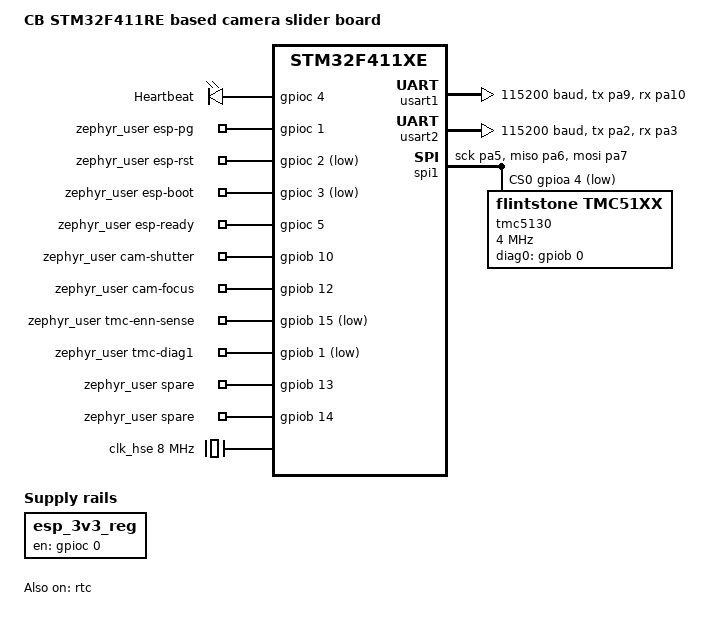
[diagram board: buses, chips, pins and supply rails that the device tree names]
/*
 * Copyright (c) 2017 Linaro Limited
 * Copyright (c) 2026 C Barker
 *
 * SPDX-License-Identifier: Apache-2.0
 *
 * Board: Ki_Slider camera slider, STM32F411RE (U3, LQFP-64).
 * Every pin below is taken from the KiCad netlist, not from the silkscreen.
 */

/dts-v1/;
#include <st/f4/stm32f411Xe.dtsi>
#include <st/f4/stm32f411r(c-e)tx-pinctrl.dtsi>
#include <zephyr/dt-bindings/input/input-event-codes.h>
#include <zephyr/dt-bindings/gpio/gpio.h>

#include <zephyr/dt-bindings/led/led.h>

/ {
	model = "CB STM32F411RE based camera slider board";
	compatible = "flintstone,cb-f411re-slider";

	chosen {
		zephyr,console = &usart2;
		zephyr,shell-uart = &usart2;
		zephyr,sram = &sram0;
		zephyr,flash = &flash0;
	};

	leds: leds {
		compatible = "gpio-leds";

		led_0: led_0 {
			/* PC4 -> R13 560R -> D3 anode, cathode to GND.
			 * The MCU sources ~2.5 mA, so the LED is active HIGH.
			 */
			gpios = <&gpioc 4 GPIO_ACTIVE_HIGH>;
			label = "Heartbeat";
		};
	};

	/*
	 * 3V3_ESP is a second LMR38020 buck (U2) gated by the MCU.
	 * PC0 -> R5 150R -> U2 EN, with R6 10K pulling the net to GND so the
	 * rail is OFF at reset while the STM32 GPIOs are still floating.
	 * Nothing the MCU needs in order to boot lives on this rail.
	 */
	esp_3v3_reg: esp-3v3-regulator {
		compatible = "regulator-fixed";
		regulator-name = "3v3_esp";
		enable-gpios = <&gpioc 0 GPIO_ACTIVE_HIGH>;
		startup-delay-us = <5000>;
		/* deliberately NOT regulator-boot-on: firmware decides when */
	};

	/*
	 * Board signals with no upstream binding of their own.
	 * Fetch with GPIO_DT_SPEC_GET(DT_PATH(zephyr_user), <name>_gpios).
	 */
	zephyr_user: zephyr,user {
		/* --- ESP32-S3 (U6) supervision --------------------------- */

		/* U2 PG, open drain + R8 100K pull-up to the always-on
		 * 3V3_FIL rail, so it stays readable while 3V3_ESP is off.
		 * High = 3V3_ESP is good.
		 */
		esp-pg-gpios = <&gpioc 1 GPIO_ACTIVE_HIGH>;

		/* PC2 -> R18 1K -> ESP_EN (R20 10K pull-up to 3V3_ESP).
		 * Drive active (low) to hold the ESP32 in reset.
		 */
		esp-rst-gpios = <&gpioc 2 GPIO_ACTIVE_LOW>;

		/* PC3 -> R19 1K -> ESP_IO0 (R21 10K pull-up to 3V3_ESP).
		 * Hold active (low) across the ESP32 reset release to enter
		 * the serial bootloader; leave inactive for a normal boot.
		 */
		esp-boot-gpios = <&gpioc 3 GPIO_ACTIVE_LOW>;

		/* ESP32-S3 IO21 -> PC5, direct, no pull fitted on the board.
		 * GPIO_PULL_DOWN keeps the input defined while 3V3_ESP is off
		 * and IO21 is high-Z.
		 */
		esp-ready-gpios = <&gpioc 5 (GPIO_ACTIVE_HIGH | GPIO_PULL_DOWN)>;

		/* --- Camera trigger (J10, opto-isolated) ------------------ */

		/* PB10 -> R16 560R -> U4 PC817 LED anode, cathode to GND.
		 * PB12 -> R17 560R -> U5 PC817 LED anode, cathode to GND.
		 * Active HIGH: driving the pin high lights the opto LED and
		 * closes the camera-side contact. The camera side (J10) is
		 * galvanically isolated - CAM_COM is NOT board ground.
		 */
		cam-shutter-gpios = <&gpiob 10 GPIO_ACTIVE_HIGH>;
		cam-focus-gpios = <&gpiob 12 GPIO_ACTIVE_HIGH>;

		/* --- TMC5130 (U7) extras --------------------------------- */

		/* PB15 sits directly on the TMC_ENN net (U7 DRV_ENN, R25 10K
		 * pull-up to 3V3_FIL). PB2 reaches that net only through JP1
		 * or the J4 e-stop connector, so this pin is a READ-BACK: it
		 * tells firmware whether the enable actually arrived at the
		 * driver. Keep it an input - making it an output fights PB2.
		 * Active low = driver enabled.
		 */
		tmc-enn-sense-gpios = <&gpiob 15 GPIO_ACTIVE_LOW>;

		/* SWP_DIAG1. With SD_MODE=0 (U7 pin 11 strapped to GND) GCONF
		 * bit 8 leaves DIAG1 as the position-compare output. R32 10K
		 * pull-up to 3V3_FIL; the driver leaves DIAG1 open collector,
		 * so it reads active low.
		 */
		tmc-diag1-gpios = <&gpiob 1 GPIO_ACTIVE_LOW>;

		/* --- Spare expansion pins on J6 --------------------------- */
		spare-gpios = <&gpiob 13 GPIO_ACTIVE_HIGH>,
			      <&gpiob 14 GPIO_ACTIVE_HIGH>;
	};

	aliases {
		led-heartbeat = &led_0;
	};
};

&clk_lsi {
	status = "okay";
};

&clk_hse {
	/* X1: 8 MHz crystal on PH0/PH1 with 12pF load caps (C23/C25).
	 * A real crystal, NOT an external clock source - do not set
	 * hse-bypass here or HSE will never start.
	 */
	clock-frequency = <DT_FREQ_M(8)>;
	status = "okay";
};

&pll {
	div-m = <4>;
	mul-n = <192>;
	div-p = <4>;
	div-q = <8>;
	clocks = <&clk_hse>;
	status = "okay";
};

&rcc {
	clocks = <&pll>;
	clock-frequency = <DT_FREQ_M(96)>;
	ahb-prescaler = <1>;
	apb1-prescaler = <2>;
	apb2-prescaler = <1>;
};

/* USART1 -> ESP32-S3 (U6). The net names are from the ESP point of view:
 * ESP_RXD is PA9 (STM32 TX) -> IO18, ESP_TXD is PA10 (STM32 RX) <- IO17.
 */
&usart1 {
	pinctrl-0 = <&usart1_tx_pa9 &usart1_rx_pa10>;
	pinctrl-names = "default";
	current-speed = <115200>;
	status = "okay";
};

/* USART2 -> J11 debug header (pin 1 GND, pin 4 = PA3 RX, pin 5 = PA2 TX). */
&usart2 {
	pinctrl-0 = <&usart2_tx_pa2 &usart2_rx_pa3>;
	pinctrl-names = "default";
	current-speed = <115200>;
	status = "okay";
};

/*
 * SPI1 -> TMC5130 (U7). PA4 is used as a plain GPIO chip select, so
 * spi1_nss_pa4 is deliberately left out of pinctrl-0.
 */
&spi1 {
	pinctrl-0 = <&spi1_sck_pa5 &spi1_miso_pa6 &spi1_mosi_pa7>;
	pinctrl-names = "default";
	cs-gpios = <&gpioa 4 GPIO_ACTIVE_LOW>;
	status = "okay";

	tmc5130: tmc5130@0 {
		compatible = "flintstone,tmc51xx";
		reg = <0>;

		/* TMC5130A is SPI mode 3; the driver hardcodes CPOL|CPHA.
		 * Lands on 3 MHz after the APB2 prescaler, well inside spec.
		 */
		spi-max-frequency = <DT_FREQ_M(4)>;

		/* U7 CLK (pin 2) is strapped to GND, so the internal
		 * oscillator is used. Datasheet fCLKOSC is 13.2 MHz typical
		 * at tJ=50C but spans 10.1-17.2 MHz over temperature, and
		 * every velocity/acceleration conversion scales with it.
		 * Measure a real part if you need accurate speeds.
		 */
		clock-frequency = <13200000>;

		/* SWN_DIAG0 -> PB0. With SD_MODE=0, GCONF bit 7 leaves DIAG0
		 * as the interrupt output, and the driver sets bit 12 to make
		 * it push-pull active high whenever diag0-gpios is present.
		 * RAMP_STAT event_stop_l/_r, event_pos_reached and
		 * event_stop_sg are ORed onto it, which is what makes
		 * interrupt-driven end-stop handling work instead of polling.
		 * R33 10K pull-up to 3V3_FIL only defines the line pre-init.
		 */
		diag0-gpios = <&gpiob 0 GPIO_ACTIVE_HIGH>;

		/* StealthChop: quiet, and this board homes on hall switches
		 * rather than stallGuard, so nothing needs spreadCycle.
		 */
		en-pwm-mode;

		status = "okay";

		tmc5130_driver: stepper-driver {
			compatible = "flintstone,tmc51xx-stepper-driver";
			micro-step-res = <256>;

			/* DRV_ENN is active-HIGH disable and carries R25 10K
			 * to 3V3_FIL, so the power stage is off until firmware
			 * pulls it down. PB2 reaches it through JP1 (jumper)
			 * or J4 (external e-stop in the same position), so an
			 * opened e-stop lets R25 disable the driver in
			 * hardware with no firmware in the loop.
			 * GPIO_ACTIVE_LOW makes stepper_enable() drive PB2 low.
			 */
			en-gpios = <&gpiob 2 GPIO_ACTIVE_LOW>;
		};

		tmc5130_ctrl: motion-controller {
			compatible = "flintstone,tmc51xx-stepper-ctrl";

			/* Hall end stops reach the TMC directly, not the MCU:
			 * J8 -> R26/R27 10K pull-ups to 3V3_FIL -> R28/R29 22K
			 * with C32/C33 1nF -> U7.8 REFL and U7.9 REFR.
			 * The pull-ups mean an idle or unfitted switch sits
			 * HIGH, so both inputs are inverted (pol-stop-*) and a
			 * switch pulling its input LOW is what stops the motor.
			 * REFR is enabled too so an unfitted right-hand switch
			 * reads as "not triggered" rather than stopping motion.
			 */
			stop-l-enable;
			stop-r-enable;
			pol-stop-l;
			pol-stop-r;

			/* Ramp values are in TMC internal units.
			 * v[Hz] = v[reg] * fCLK / 2^24; at 13.2 MHz one unit
			 * is 0.787 ustep/s, so vmax 100000 is ~78.7 kustep/s
			 * (~1.5 rev/s on a 200-step motor at 256 microsteps).
			 */
			vstart = <0>;
			a1 = <1000>;
			v1 = <50000>;
			amax = <500>;
			vmax = <100000>;
			dmax = <700>;
			d1 = <1400>;
			vstop = <10>;
			tzerowait = <100>;

			/* Motor current, R30/R31 = 0.15R sense:
			 *   Irms = (CS+1)/32 * 0.325/(0.15+0.02) / sqrt(2)
			 *        = (CS+1)/32 * 1.352 A
			 * irun 16 -> ~0.72 A rms, ihold 8 -> ~0.38 A rms.
			 * Deliberately conservative - raise to suit the motor
			 * actually fitted before tuning anything else.
			 */
			irun = <16>;
			ihold = <8>;
			iholddelay = <6>;
			tpowerdown = <10>;
		};
	};
};

&rtc {
	clocks = <&rcc STM32_CLOCK(APB1, 28)>,
		 <&rcc STM32_SRC_LSI RTC_SEL(2)>;
	status = "okay";
};
